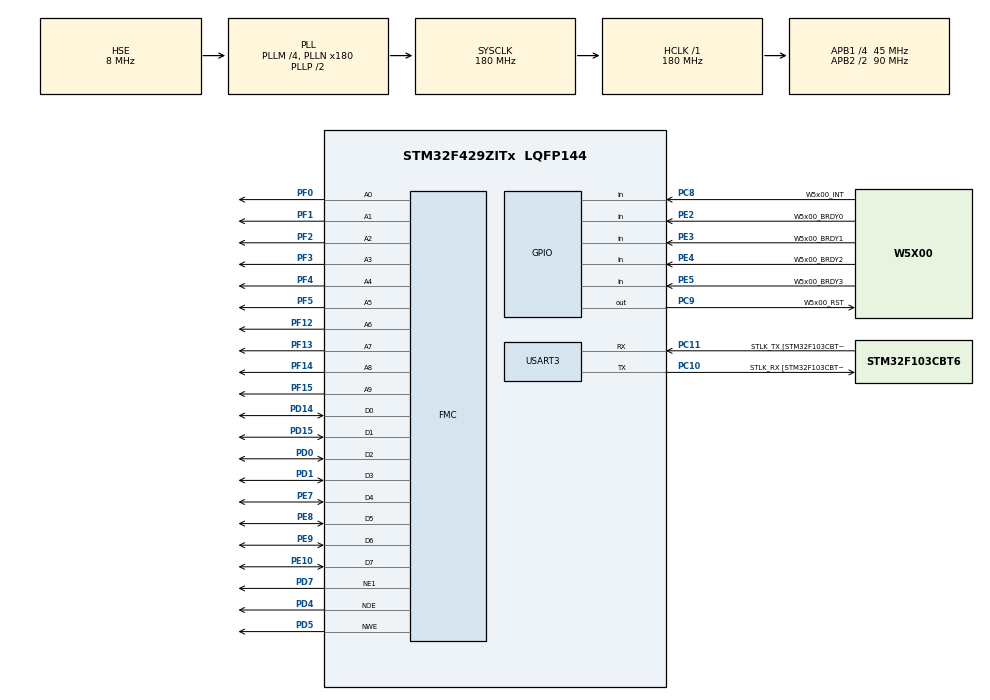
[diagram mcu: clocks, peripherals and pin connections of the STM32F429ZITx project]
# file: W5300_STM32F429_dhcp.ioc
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FMC.WriteOperation1=FMC_WRITE_OPERATION_ENABLE
Mcu.Family=STM32F4
Mcu.Name=STM32F429ZITx
Mcu.Package=LQFP144
NVIC.PriorityGroup=NVIC_PRIORITYGROUP_4
NVIC.TIM1_UP_TIM10_IRQn=true\:0\:0\:false\:false\:true\:true\:true\:true
PA13.GPIO_Label=TMS
PA13.Mode=Serial_Wire
PA13.Signal=SYS_JTMS-SWDIO
PA14.GPIO_Label=TCK
PA14.Mode=Serial_Wire
PA14.Signal=SYS_JTCK-SWCLK
PC10.GPIO_Label=STLK_RX [STM32F103CBT6_PA3]
PC10.Mode=Asynchronous
PC10.Signal=USART3_TX
PC11.GPIO_Label=STLK_TX [STM32F103CBT6_PA2]
PC11.Mode=Asynchronous
PC11.Signal=USART3_RX
PC14/OSC32_IN.Mode=LSE-External-Oscillator
PC14/OSC32_IN.Signal=RCC_OSC32_IN
PC15/OSC32_OUT.Mode=LSE-External-Oscillator
PC15/OSC32_OUT.Signal=RCC_OSC32_OUT
PC8.GPIO_Label=W5x00_INT
PC8.Signal=GPIO_Input
PC9.GPIO_Label=W5x00_RST
PC9.GPIO_PuPd=GPIO_PULLUP
PC9.PinState=GPIO_PIN_SET
PC9.Signal=GPIO_Output
PD0.Signal=FMC_D2_DA2
PD1.Signal=FMC_D3_DA3
PD14.Signal=FMC_D0_DA0
PD15.Signal=FMC_D1_DA1
PD4.Signal=FMC_NOE
PD5.Signal=FMC_NWE
PD7.Mode=NorPsramChipSelect1_1
PD7.Signal=FMC_NE1
PE10.Signal=FMC_D7_DA7
PE2.GPIO_Label=W5x00_BRDY0
PE2.Signal=GPIO_Input
PE3.GPIO_Label=W5x00_BRDY1
PE3.Signal=GPIO_Input
PE4.GPIO_Label=W5x00_BRDY2
PE4.Signal=GPIO_Input
PE5.GPIO_Label=W5x00_BRDY3
PE5.Signal=GPIO_Input
PE7.Signal=FMC_D4_DA4
PE8.Signal=FMC_D5_DA5
PE9.Signal=FMC_D6_DA6
PF0.Signal=FMC_A0
PF1.Signal=FMC_A1
PF12.Signal=FMC_A6
PF13.Signal=FMC_A7
PF14.Signal=FMC_A8
PF15.Signal=FMC_A9
PF2.Signal=FMC_A2
PF3.Signal=FMC_A3
PF4.Signal=FMC_A4
PF5.Signal=FMC_A5
PH0/OSC_IN.GPIO_Label=MCO [STM32F103CBT6_PA8]
PH0/OSC_IN.Mode=HSE-External-Clock-Source
PH0/OSC_IN.Signal=RCC_OSC_IN
PH1/OSC_OUT.Mode=HSE-External-Clock-Source
PH1/OSC_OUT.Signal=RCC_OSC_OUT
ProjectManager.HeapSize=0x10000
ProjectManager.StackSize=0x8000
ProjectManager.TargetToolchain=STM32CubeIDE
RCC.48MHZClocksFreq_Value=51428571.428571425
RCC.AHBFreq_Value=180000000
RCC.APB1CLKDivider=RCC_HCLK_DIV4
RCC.APB1Freq_Value=45000000
RCC.APB1TimFreq_Value=90000000
RCC.APB2CLKDivider=RCC_HCLK_DIV2
RCC.APB2Freq_Value=90000000
RCC.APB2TimFreq_Value=180000000
RCC.CortexFreq_Value=180000000
RCC.HCLKFreq_Value=180000000
RCC.HSE_VALUE=8000000
RCC.HSI_VALUE=16000000
RCC.PLLM=4
RCC.PLLMUL=RCC_PLL_MUL9
RCC.PLLN=180
RCC.PLLQ=7
RCC.PLLSourceVirtual=RCC_PLLSOURCE_HSE
RCC.PRESCALERUSB=RCC_USBCLKSOURCE_PLL_DIV1_5
RCC.SYSCLKFreq_VALUE=180000000
RCC.SYSCLKSource=RCC_SYSCLKSOURCE_PLLCLK
RCC.SYSCLKSourceVirtual=RCC_SYSCLKSOURCE_PLLCLK
RCC.USBFreq_Value=48000000
RCC.VCOOutputFreq_Value=360000000
SH.FMC_A0.0=FMC_A0,10b-a1
SH.FMC_A1.0=FMC_A1,10b-a1
SH.FMC_A2.0=FMC_A2,10b-a1
SH.FMC_A3.0=FMC_A3,10b-a1
SH.FMC_A4.0=FMC_A4,10b-a1
SH.FMC_A5.0=FMC_A5,10b-a1
SH.FMC_A6.0=FMC_A6,10b-a1
SH.FMC_A7.0=FMC_A7,10b-a1
SH.FMC_A8.0=FMC_A8,10b-a1
SH.FMC_A9.0=FMC_A9,10b-a1
SH.FMC_D0_DA0.0=FMC_D0,8b-d1
SH.FMC_D1_DA1.0=FMC_D1,8b-d1
SH.FMC_D2_DA2.0=FMC_D2,8b-d1
SH.FMC_D3_DA3.0=FMC_D3,8b-d1
SH.FMC_D4_DA4.0=FMC_D4,8b-d1
SH.FMC_D5_DA5.0=FMC_D5,8b-d1
SH.FMC_D6_DA6.0=FMC_D6,8b-d1
SH.FMC_D7_DA7.0=FMC_D7,8b-d1
SH.FMC_NOE.0=FMC_NOE,Sram1
SH.FMC_NWE.0=FMC_NWE,Sram1
TIM1.Period=10-1
TIM1.Prescaler=8999
USART3.VirtualMode=VM_ASYNC
VP_TIM1_VS_ClockSourceINT.Mode=Internal
board=NUCLEO-F429ZI

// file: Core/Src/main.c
/* USER CODE BEGIN Header */
/**
 ******************************************************************************
 * @file           : main.c
 * @brief          : Main program body
 ******************************************************************************
 * @attention
 *
 * Copyright (c) 2024 STMicroelectronics.
 * All rights reserved.
 *
 * This software is licensed under terms that can be found in the LICENSE file
 * in the root directory of this software component.
 * If no LICENSE file comes with this software, it is provided AS-IS.
 *
 ******************************************************************************
 */
/* USER CODE END Header */
#include "main.h"

/* USER CODE BEGIN Includes */
#include <stdio.h>
#include "socket.h"
#include "wizchip_conf.h"
#include "w5x00_network.h"
#include "dhcp.h"
/* USER CODE END Includes */

/* USER CODE BEGIN PD */
#define SOCKET_DHCP 0

#define DATA_BUF_SIZE 2048
#define DHCP_RETRY_COUNT 5
/* USER CODE END PD */

/* USER CODE BEGIN PM */
#ifdef __GNUC__
/* With GCC/RAISONANCE, small printf (option LD Linker->Libraries->Small printf set to 'Yes') calls __io_putchar() */
#define PUTCHAR_PROTOTYPE int __io_putchar(int ch)
#else
#define PUTCHAR_PROTOTYPE int fputc(int ch, FILE *f)
#endif /* __GNUC__ */
/* USER CODE END PM */

TIM_HandleTypeDef htim1;

UART_HandleTypeDef huart3;

SRAM_HandleTypeDef hsram1;

/* USER CODE BEGIN PV */
wiz_NetInfo net_info =
    {
        .mac = {0x00, 0x08, 0xDC, 0x01, 0x02, 0x03}, // MAC address
        .ip = {192, 168, 11, 10},                    // IP address
        .sn = {255, 255, 255, 0},                    // Subnet Mask
        .gw = {192, 168, 11, 1},                     // Gateway
        .dns = {168, 126, 63, 1},                    // DNS server
        .dhcp = NETINFO_DHCP                         // Dynamic IP
};
uint8_t g_eth_buf[DATA_BUF_SIZE];
uint8_t dest_ip[4] = {192, 168, 11, 2};

static uint8_t g_dhcp_get_ip_flag = 0;
static volatile uint16_t g_msec_cnt = 0;

/* USER CODE END PV */

void SystemClock_Config(void);
static void MX_GPIO_Init(void);
static void MX_USART3_UART_Init(void);
static void MX_FMC_Init(void);
static void MX_TIM1_Init(void);
/* USER CODE BEGIN PFP */
/**
 * @brief  Retargets the C library printf function to the USART.
 * @param  None
 * @retval None
 */
PUTCHAR_PROTOTYPE
{
    /* Place your implementation of fputc here */
    /* e.g. write a character to the USART3 and Loop until the end of transmission */
    HAL_UART_Transmit(&huart3, (uint8_t *)&ch, 1, 0xFF);

    return ch;
}
static void wizchip_dhcp_init(void);
static void wizchip_dhcp_assign(void);
static void wizchip_dhcp_conflict(void);
static void repeating_timer_callback(void);
/* USER CODE END PFP */

/* USER CODE BEGIN 0 */
void HAL_TIM_PeriodElapsedCallback(TIM_HandleTypeDef *htim)
{
    if (htim->Instance == TIM1)
    {
        HAL_IncTick();
//        repeating_timer_callback();
    }
}
/* USER CODE END 0 */

int main(void)
{

  /* USER CODE BEGIN 1 */
    uint8_t retval = 0;
    uint8_t dhcp_retry = 0;
    uint8_t dns_retry = 0;
  /* USER CODE END 1 */

  /* MCU Configuration--------------------------------------------------------*/

  /* Reset of all peripherals, Initializes the Flash interface and the Systick. */
  HAL_Init();

  /* Configure the system clock */
  SystemClock_Config();

  /* Initialize all configured peripherals */
  MX_GPIO_Init();
  MX_USART3_UART_Init();
  MX_FMC_Init();
  MX_TIM1_Init();
  /* USER CODE BEGIN 2 */
    HAL_TIM_Base_Start_IT(&htim1);
    wizchip_reset();
    wizchip_initialize();
    wizchip_check();
    HAL_Delay(2000);

    if (net_info.dhcp == NETINFO_DHCP) // DHCP
    {
        wizchip_dhcp_init();
    }
  /* USER CODE END 2 */

  /* Infinite loop */
  /* USER CODE BEGIN WHILE */
    while (1)
    {
        if (net_info.dhcp == NETINFO_DHCP)
        {
            retval = DHCP_run();
            if (retval == DHCP_IP_LEASED)
            {
                if (g_dhcp_get_ip_flag == 0)
                {
                    printf(" DHCP success\n");

                    g_dhcp_get_ip_flag = 1;
                }
            }
            else if (retval == DHCP_FAILED)
            {
                g_dhcp_get_ip_flag = 0;
                dhcp_retry++;

                if (dhcp_retry <= DHCP_RETRY_COUNT)
                {
                    printf(" DHCP timeout occurred and retry %d\n", dhcp_retry);
                }
            }

            if (dhcp_retry > DHCP_RETRY_COUNT)
            {
                printf(" DHCP failed\n");

                DHCP_stop();

                while (1)
                    ;
            }

            HAL_Delay(1000);
            //	              wizchip_delay_ms(1000); // wait for 1 second
        }
    /* USER CODE END WHILE */

    }
}

void SystemClock_Config(void)
{
  RCC_OscInitTypeDef RCC_OscInitStruct = {0};
  RCC_ClkInitTypeDef RCC_ClkInitStruct = {0};

  /** Configure the main internal regulator output voltage
  */
  __HAL_RCC_PWR_CLK_ENABLE();
  __HAL_PWR_VOLTAGESCALING_CONFIG(PWR_REGULATOR_VOLTAGE_SCALE1);

  /** Initializes the RCC Oscillators according to the specified parameters
  * in the RCC_OscInitTypeDef structure.
  */
  RCC_OscInitStruct.OscillatorType = RCC_OSCILLATORTYPE_HSE;
  RCC_OscInitStruct.HSEState = RCC_HSE_BYPASS;
  RCC_OscInitStruct.PLL.PLLState = RCC_PLL_ON;
  RCC_OscInitStruct.PLL.PLLSource = RCC_PLLSOURCE_HSE;
  RCC_OscInitStruct.PLL.PLLM = 4;
  RCC_OscInitStruct.PLL.PLLN = 180;
  RCC_OscInitStruct.PLL.PLLP = RCC_PLLP_DIV2;
  RCC_OscInitStruct.PLL.PLLQ = 7;
  if (HAL_RCC_OscConfig(&RCC_OscInitStruct) != HAL_OK)
  {
    Error_Handler();
  }

  /** Activate the Over-Drive mode
  */
  if (HAL_PWREx_EnableOverDrive() != HAL_OK)
  {
    Error_Handler();
  }

  /** Initializes the CPU, AHB and APB buses clocks
  */
  RCC_ClkInitStruct.ClockType = RCC_CLOCKTYPE_HCLK|RCC_CLOCKTYPE_SYSCLK
                              |RCC_CLOCKTYPE_PCLK1|RCC_CLOCKTYPE_PCLK2;
  RCC_ClkInitStruct.SYSCLKSource = RCC_SYSCLKSOURCE_PLLCLK;
  RCC_ClkInitStruct.AHBCLKDivider = RCC_SYSCLK_DIV1;
  RCC_ClkInitStruct.APB1CLKDivider = RCC_HCLK_DIV4;
  RCC_ClkInitStruct.APB2CLKDivider = RCC_HCLK_DIV2;

  if (HAL_RCC_ClockConfig(&RCC_ClkInitStruct, FLASH_LATENCY_5) != HAL_OK)
  {
    Error_Handler();
  }
}

static void MX_TIM1_Init(void)
{

  TIM_ClockConfigTypeDef sClockSourceConfig = {0};
  TIM_MasterConfigTypeDef sMasterConfig = {0};

  htim1.Instance = TIM1;
  htim1.Init.Prescaler = 8999;
  htim1.Init.CounterMode = TIM_COUNTERMODE_UP;
  htim1.Init.Period = 10-1;
  htim1.Init.ClockDivision = TIM_CLOCKDIVISION_DIV1;
  htim1.Init.RepetitionCounter = 0;
  htim1.Init.AutoReloadPreload = TIM_AUTORELOAD_PRELOAD_DISABLE;
  if (HAL_TIM_Base_Init(&htim1) != HAL_OK)
  {
    Error_Handler();
  }
  sClockSourceConfig.ClockSource = TIM_CLOCKSOURCE_INTERNAL;
  if (HAL_TIM_ConfigClockSource(&htim1, &sClockSourceConfig) != HAL_OK)
  {
    Error_Handler();
  }
  sMasterConfig.MasterOutputTrigger = TIM_TRGO_RESET;
  sMasterConfig.MasterSlaveMode = TIM_MASTERSLAVEMODE_DISABLE;
  if (HAL_TIMEx_MasterConfigSynchronization(&htim1, &sMasterConfig) != HAL_OK)
  {
    Error_Handler();
  }

}

static void MX_USART3_UART_Init(void)
{

  huart3.Instance = USART3;
  huart3.Init.BaudRate = 115200;
  huart3.Init.WordLength = UART_WORDLENGTH_8B;
  huart3.Init.StopBits = UART_STOPBITS_1;
  huart3.Init.Parity = UART_PARITY_NONE;
  huart3.Init.Mode = UART_MODE_TX_RX;
  huart3.Init.HwFlowCtl = UART_HWCONTROL_NONE;
  huart3.Init.OverSampling = UART_OVERSAMPLING_16;
  if (HAL_UART_Init(&huart3) != HAL_OK)
  {
    Error_Handler();
  }

}

/* FMC initialization function */
static void MX_FMC_Init(void)
{

  FMC_NORSRAM_TimingTypeDef Timing = {0};

  /** Perform the SRAM1 memory initialization sequence
  */
  hsram1.Instance = FMC_NORSRAM_DEVICE;
  hsram1.Extended = FMC_NORSRAM_EXTENDED_DEVICE;
  /* hsram1.Init */
  hsram1.Init.NSBank = FMC_NORSRAM_BANK1;
  hsram1.Init.DataAddressMux = FMC_DATA_ADDRESS_MUX_DISABLE;
  hsram1.Init.MemoryType = FMC_MEMORY_TYPE_SRAM;
  hsram1.Init.MemoryDataWidth = FMC_NORSRAM_MEM_BUS_WIDTH_8;
  hsram1.Init.BurstAccessMode = FMC_BURST_ACCESS_MODE_DISABLE;
  hsram1.Init.WaitSignalPolarity = FMC_WAIT_SIGNAL_POLARITY_LOW;
  hsram1.Init.WrapMode = FMC_WRAP_MODE_DISABLE;
  hsram1.Init.WaitSignalActive = FMC_WAIT_TIMING_BEFORE_WS;
  hsram1.Init.WriteOperation = FMC_WRITE_OPERATION_ENABLE;
  hsram1.Init.WaitSignal = FMC_WAIT_SIGNAL_DISABLE;
  hsram1.Init.ExtendedMode = FMC_EXTENDED_MODE_DISABLE;
  hsram1.Init.AsynchronousWait = FMC_ASYNCHRONOUS_WAIT_DISABLE;
  hsram1.Init.WriteBurst = FMC_WRITE_BURST_DISABLE;
  hsram1.Init.ContinuousClock = FMC_CONTINUOUS_CLOCK_SYNC_ONLY;
  hsram1.Init.PageSize = FMC_PAGE_SIZE_NONE;
  /* Timing */
  Timing.AddressSetupTime = 15;
  Timing.AddressHoldTime = 15;
  Timing.DataSetupTime = 255;
  Timing.BusTurnAroundDuration = 15;
  Timing.CLKDivision = 16;
  Timing.DataLatency = 17;
  Timing.AccessMode = FMC_ACCESS_MODE_A;
  /* ExtTiming */

  if (HAL_SRAM_Init(&hsram1, &Timing, NULL) != HAL_OK)
  {
    Error_Handler( );
  }

}

static void MX_GPIO_Init(void)
{
  GPIO_InitTypeDef GPIO_InitStruct = {0};

  /* GPIO Ports Clock Enable */
  __HAL_RCC_GPIOE_CLK_ENABLE();
  __HAL_RCC_GPIOC_CLK_ENABLE();
  __HAL_RCC_GPIOF_CLK_ENABLE();
  __HAL_RCC_GPIOH_CLK_ENABLE();
  __HAL_RCC_GPIOD_CLK_ENABLE();
  __HAL_RCC_GPIOA_CLK_ENABLE();

  /*Configure GPIO pin Output Level */
  HAL_GPIO_WritePin(W5x00_RST_GPIO_Port, W5x00_RST_Pin, GPIO_PIN_SET);

  /*Configure GPIO pins : W5x00_BRDY0_Pin W5x00_BRDY1_Pin W5x00_BRDY2_Pin W5x00_BRDY3_Pin */
  GPIO_InitStruct.Pin = W5x00_BRDY0_Pin|W5x00_BRDY1_Pin|W5x00_BRDY2_Pin|W5x00_BRDY3_Pin;
  GPIO_InitStruct.Mode = GPIO_MODE_INPUT;
  GPIO_InitStruct.Pull = GPIO_NOPULL;
  HAL_GPIO_Init(GPIOE, &GPIO_InitStruct);

  /*Configure GPIO pin : W5x00_INT_Pin */
  GPIO_InitStruct.Pin = W5x00_INT_Pin;
  GPIO_InitStruct.Mode = GPIO_MODE_INPUT;
  GPIO_InitStruct.Pull = GPIO_NOPULL;
  HAL_GPIO_Init(W5x00_INT_GPIO_Port, &GPIO_InitStruct);

  /*Configure GPIO pin : W5x00_RST_Pin */
  GPIO_InitStruct.Pin = W5x00_RST_Pin;
  GPIO_InitStruct.Mode = GPIO_MODE_OUTPUT_PP;
  GPIO_InitStruct.Pull = GPIO_PULLUP;
  GPIO_InitStruct.Speed = GPIO_SPEED_FREQ_LOW;
  HAL_GPIO_Init(W5x00_RST_GPIO_Port, &GPIO_InitStruct);

}

/* USER CODE BEGIN 4 */
static void wizchip_dhcp_init(void)
{
    printf(" DHCP client running\n");

    DHCP_init(SOCKET_DHCP, g_eth_buf);

    reg_dhcp_cbfunc(wizchip_dhcp_assign, wizchip_dhcp_assign, wizchip_dhcp_conflict);
}

static void wizchip_dhcp_assign(void)
{
    getIPfromDHCP(net_info.ip);
    getGWfromDHCP(net_info.gw);
    getSNfromDHCP(net_info.sn);
    getDNSfromDHCP(net_info.dns);

    net_info.dhcp = NETINFO_DHCP;

    /* Network initialize */
    wizchip_network_initialize(&net_info);
    wizchip_network_information(&net_info);
    printf(" DHCP leased time : %ld seconds\n", getDHCPLeasetime());
}

static void wizchip_dhcp_conflict(void)
{
    printf(" Conflict IP from DHCP\n");

    // halt or reset or any...
    while (1)
        ; // this example is halt.
}
static void repeating_timer_callback(void)
{
    g_msec_cnt++;
    if (g_msec_cnt >= 1000 - 1)
    {
        g_msec_cnt = 0;

        DHCP_time_handler();
    }
}
/* USER CODE END 4 */

void Error_Handler(void)
{
    __disable_irq();
    while (1)
    {
    }
}
